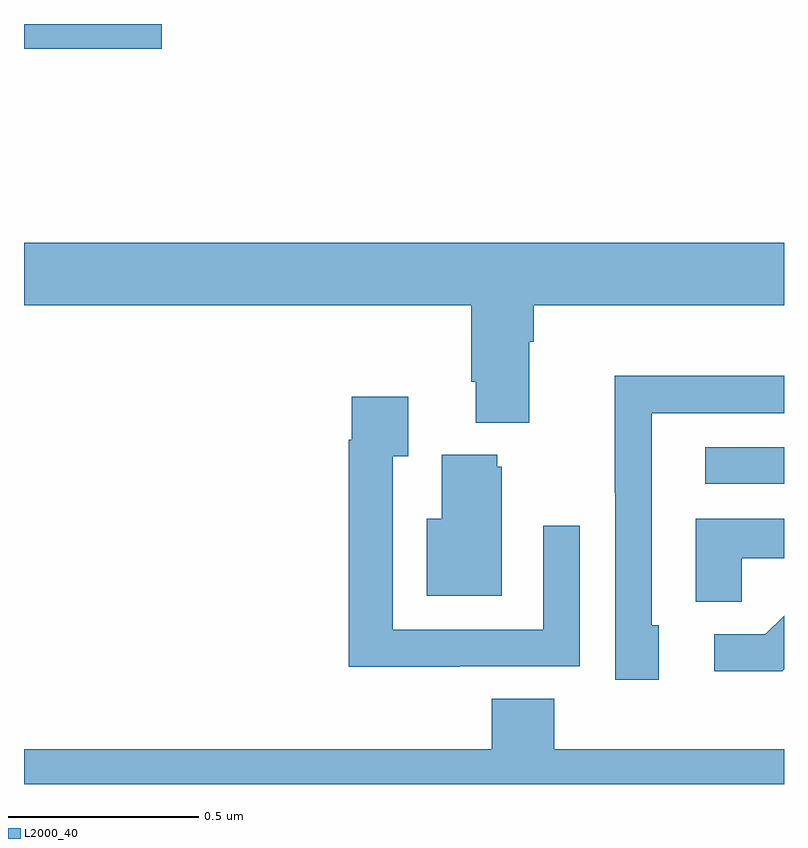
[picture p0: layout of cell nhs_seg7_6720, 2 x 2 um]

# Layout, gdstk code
import gdstk
lib = gdstk.Library(unit=1e-6, precision=1e-09)
def R(c, l, rs):  # rectangles x0, y0, x1, y1
    for r in rs: c.add(gdstk.rectangle(r[:2], r[2:], *l))
def P(c, l, *ps):  # polygons
    for p in ps: c.add(gdstk.Polygon(p, *l))
L2000_40 = (2000, 40)

nhs_seg7_6720 = lib.new_cell('nhs_seg7_6720')
R(nhs_seg7_6720, L2000_40, [(203.793,1022.79,204,1022.886), (202,1023.935,202.363,1024)])
P(nhs_seg7_6720, L2000_40, [(203.329,1023.164),(203.342,1023.164),(203.342,1023.26),(204,1023.26),(204,1023.424),(202,1023.424),(202,1023.26),(203.177,1023.26),(203.177,1023.058),(203.189,1023.058),(203.189,1022.951),(203.329,1022.951)],
  [(203.671,1022.418),(203.652,1022.418),(203.652,1022.976),(204,1022.976),(204,1023.074),(203.554,1023.074),(203.554,1022.767),(203.556,1022.767),(203.556,1022.274),(203.671,1022.274)],
  [(203.147,1022.31),(203.463,1022.31),(203.463,1022.68),(203.367,1022.68),(203.367,1022.406),(202.971,1022.406),(202.971,1022.863),(203.011,1022.863),(203.011,1023.019),(202.863,1023.019),(202.863,1022.906),(202.855,1022.906),(202.855,1022.309),(203.147,1022.309)],
  [(203.257,1022.835),(203.246,1022.835),(203.246,1022.866),(203.099,1022.866),(203.099,1022.698),(203.06,1022.698),(203.06,1022.495),(203.257,1022.495)],
  [(203.889,1022.594),(204,1022.594),(204,1022.698),(203.768,1022.698),(203.768,1022.479),(203.889,1022.479)],
  [(204,1022.302),(204,1022.443),(203.951,1022.394),(203.817,1022.394),(203.817,1022.297),(203.995,1022.297)],
  [(204,1022.092),(203.396,1022.092),(203.396,1022.225),(203.231,1022.225),(203.231,1022.092),(202,1022.092),(202,1022),(204,1022)])

lib.write_gds('nhs_seg7_6720.gds')
